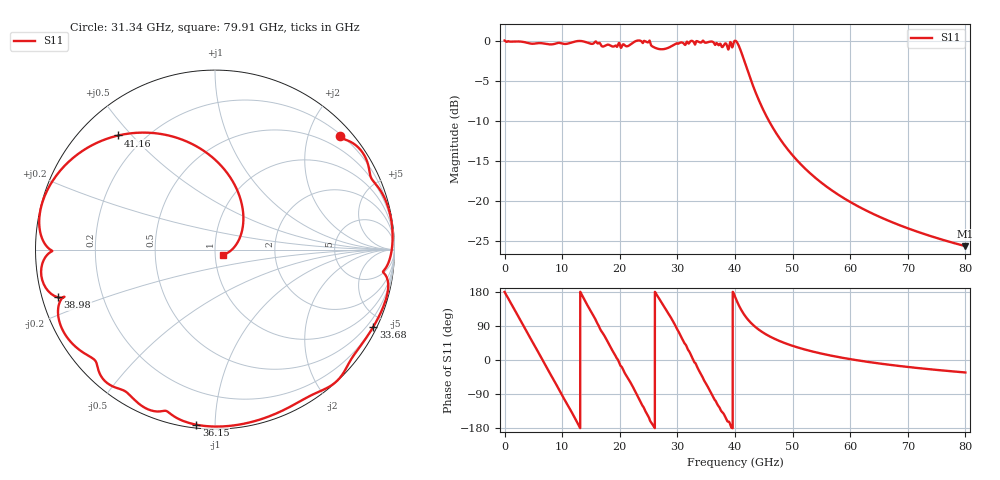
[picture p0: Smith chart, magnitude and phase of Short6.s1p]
# Hz S DB R 50
!Touchstone multiport model file <C:\work\PySI\TestSignalIntegrity\OysterSimulation\ResampledSimbeor\Short6.s1p>
!Created on 22 Aug 18, at 17:55:40.
!Created with Simbeor THz 2018.01(64bit) of Simberian Inc. built on Jul 20 2018
!Output from MultiportParameters of Simbeor.
!Multiport parameters: DataOrigin=Simulation DataOriginName="Project(1).Short6_resampled.LNS"
!RESAMPLED_RCM: Max_RMS_Error=0.0151918; FrqLow=0; FrqHigh=4e+10; MaxTimeResolution=1.25e-11; PassivityState=1; ReciprocityState=1; DataSource=" uuÂn"
!RATIONAL COMPACTOR: Precision: Normal; Extract Delay: ON; Extrapolate to DC: ON; Extrapolate to Infinity: OFF; Enforce Passivity: ON; Enforce Reciprocity: ON; Band Limit Factor: 1; Auto-Adjust Config: OFF
!Uncomment the following lines with keywords in square brakets to support IBIS forum specification 2.0.
![Version] 2.0 !This line should be the first in file, preceeding the line starting with #.
![Number of Ports] 1
![Number of Frequencies] 8001
![Reference] 50
!!!!Multiport descriptor profile: InputCount=1 TotalPortCount=1
!DescriptorOutline={DescriptorType=SMatrix InputSpace=Terminal NormalizationType=CommonZo NormalizationCommonZo=50 Ohm OutputFormat=DBMagnitudeAngle}
!InputProfile={Name="IO1" IsTLineInput=False InputNumber=1 PortCount=1 FirstPortNumber=1 InputSpace=Terminal BlockType=SBlock NormalizationType=CommonZo Zo=50}
!!!Global port number to input_name/local_port_number correspondence:
!Port 1 -> "IO1"/local_port_1 (terminal)
!!!!End of descriptor profile.
!Frequency Hz 20.0*log(|S[1,1]|) arg(S[1,1])
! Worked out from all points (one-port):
!   8000 points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, 10 MHz to 80 GHz, reference 50 ohm
!   lowest |S11| = -25.6 dB at 80 GHz (marker M1), VSWR 1.11, Z = 54.5 - j3.11 ohm
!   |S11| at or under -10 dB: 45.89 GHz to end of sweep
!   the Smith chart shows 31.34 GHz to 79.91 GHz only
!   S11 on the Smith chart (normalised r, x): 31.34 GHz: 0.24, +2.57; 33.68 GHz: 0.19, -4.33; 36.15 GHz: 0.02, -0.90; 38.98 GHz: 0.05, -0.15; 41.16 GHz: 0.11, +0.46; 79.91 GHz: 1.09, -0.06
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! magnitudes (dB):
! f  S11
! 10 MHz  0.0
! 10.01 GHz  -0.4
! 13.1 GHz  -0.1
! 16.11 GHz  -0.3
! 17.12 GHz  -0.7
! 20.01 GHz  -0.5
! 21.4 GHz  -0.7
! 23.32 GHz  0.0
! 24.89 GHz  -0.2
! 25.94 GHz  -0.8
! 27.36 GHz  -1.1
! 30.01 GHz  -0.4
! 31.34 GHz  -0.6
! 33.68 GHz  -0.2
! 36.15 GHz  -0.2
! 38.98 GHz  -0.8
! 40.01 GHz  0.0
! 40.46 GHz  -0.4
! 41.16 GHz  -1.6
! 43.32 GHz  -6.0
! 45.19 GHz  -9.0
! 47.42 GHz  -11.8
! 50.01 GHz  -14.3
! 54.49 GHz  -17.4
! 60.01 GHz  -20.1
! 70.01 GHz  -23.4
! 79.91 GHz  -25.6
! 80 GHz  -25.6
